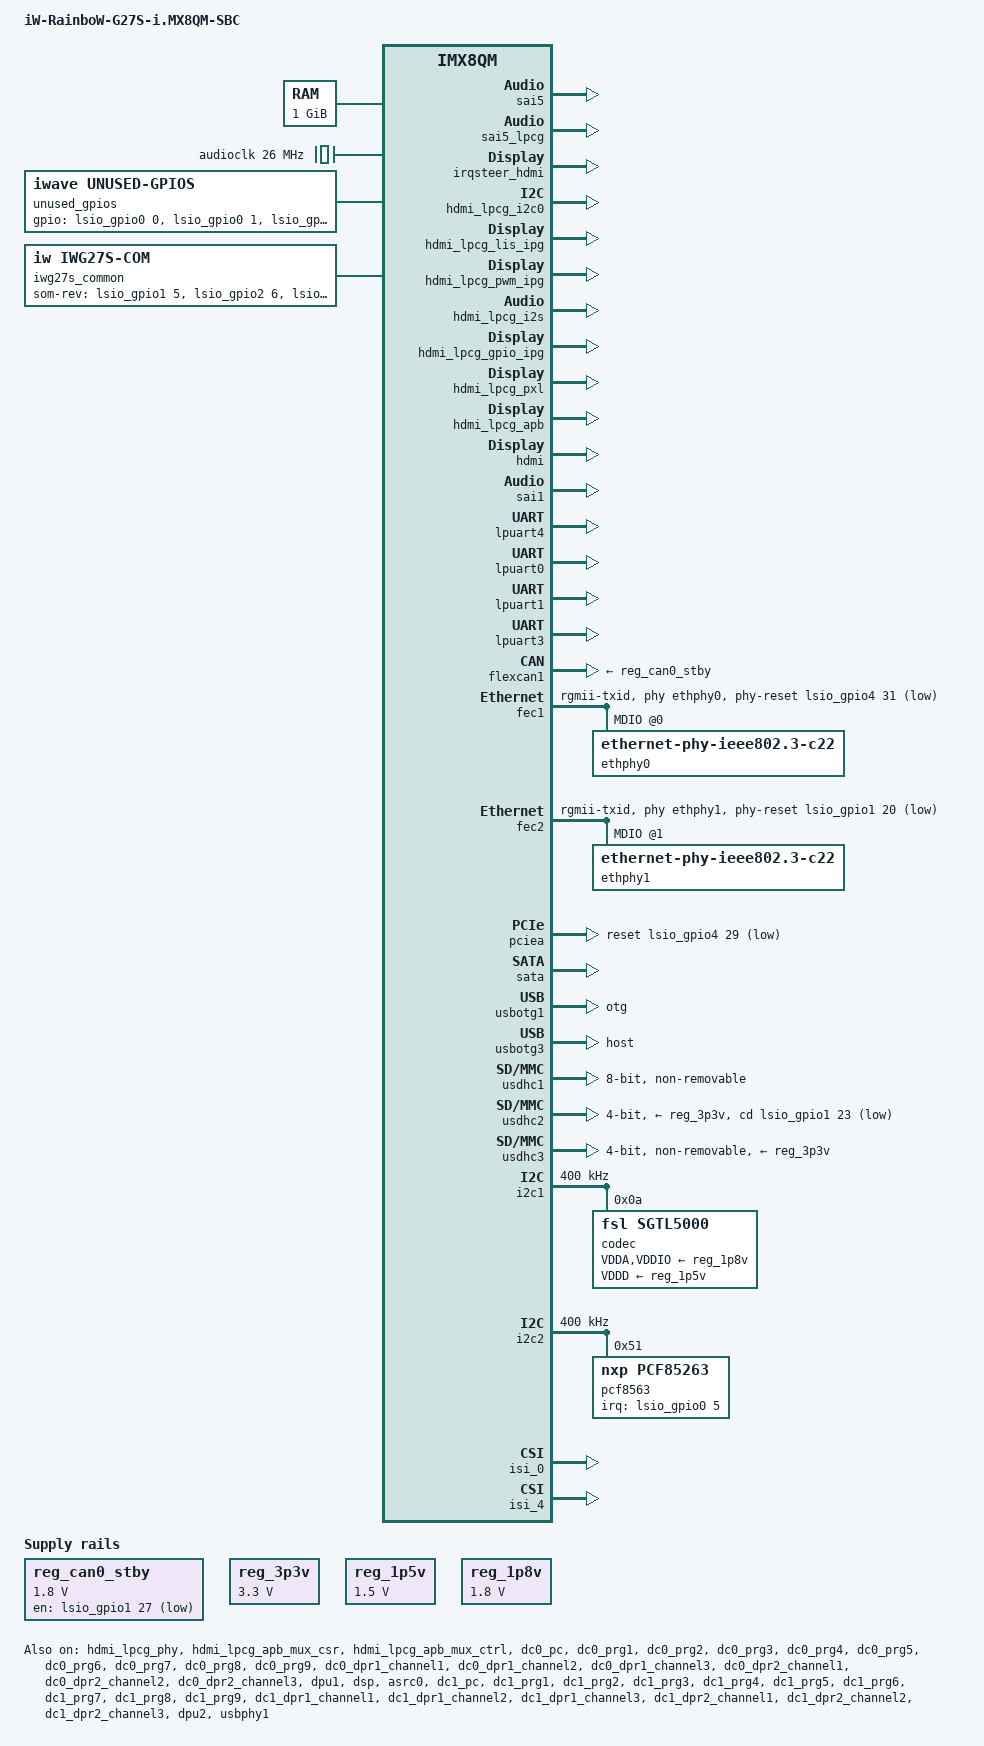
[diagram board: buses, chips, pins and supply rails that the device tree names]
// SPDX-License-Identifier: GPL-2.0+
/*
 * Copyright (c) 2020 iWave Systems Technologies Pvt. Ltd.
 *
 * This program is free software; you can redistribute it and/or
 * modify it under the terms of the GNU General Public License
 * as published by the Free Software Foundation; either version 2
 * of the License, or (at your option) any later version.
 *
 * This program is distributed in the hope that it will be useful,
 * but WITHOUT ANY WARRANTY; without even the implied warranty of
 * MERCHANTABILITY or FITNESS FOR A PARTICULAR PURPOSE.  See the
 * GNU General Public License for more details.
 */

#include <dt-bindings/usb/pd.h>
#include "imx8qm.dtsi"

/ {
	model = "iW-RainboW-G27S-i.MX8QM-SBC";
	compatible = "fsl,imx8qm-iwg27s", "fsl,imx8qm";

	chosen {
                stdout-path = &lpuart4;
	};

	aliases {
		serial4 = &lpuart4;
	};

	memory@80000000 {
		device_type = "memory";
		reg = <0x00000000 0x80000000 0 0x40000000>;
	};

	clocks {
		#address-cells = <1>;
		#size-cells = <0>;

		audioclk: ext26Mz { /* SGTL5000: External Audio Clock */
			compatible = "fixed-clock";
			clock-frequency = <26000000>;
			reg=<0>;
			#clock-cells = <0>;
		};
	};

	reserved-memory {
		#address-cells = <2>;
		#size-cells = <2>;
		ranges;

		decoder_boot: decoder_boot@0x84000000 {
			no-map;
			reg = <0 0x84000000 0 0x2000000>;
		};
		encoder_boot: encoder_boot@0x86000000 {
			no-map;
			reg = <0 0x86000000 0 0x400000>;
		};
		/*
		 * reserved-memory layout
		 * 0x8800_0000 ~ 0x8FFF_FFFF is reserved for M4
		 * Shouldn't be used at A core and Linux side.
		 *
		 */
		m4_reserved: m4@0x88000000 {
			no-map;
			reg = <0 0x88000000 0 0x8000000>;
		};
		rpmsg_reserved: rpmsg@0x90000000 {
			no-map;
			reg = <0 0x90200000 0 0x200000>;
		};
		decoder_rpc: decoder_rpc@0x92000000 {
			no-map;
			reg = <0 0x92000000 0 0x200000>;
		};
		encoder_rpc: encoder_rpc@0x92200000 {
			no-map;
			reg = <0 0x92200000 0 0x200000>;
		};
		dsp_reserved: dsp@0x92400000 {
			no-map;
			reg = <0 0x92400000 0 0x2000000>;
		};
		encoder_reserved: encoder_reserved@0x94400000 {
			no-map;
			reg = <0 0x94400000 0 0x800000>;
		};
		ts_boot: ts_boot@0x95000000 {
			no-map;
			reg = <0 0x95000000 0 0x400000>;
		};

		/* global autoconfigured region for contiguous allocations */
		linux,cma {
			compatible = "shared-dma-pool";
			reusable;
			size = <0 0x3c000000>;
			alloc-ranges = <0 0x96000000 0 0x3c000000>;
			linux,cma-default;
		};

	};

	unused_gpios: unused_gpios { /* GPIO: Setting Unused GPIOs as input pins */
		compatible = "iwave,unused-gpios";
		pinctrl-names = "default";
		pinctrl-0 = <&pinctrl_unused_gpio>;
		status = "okay";  
	};

	reg_can0_stby: regulator-can-stby0 { /* CAN: CAN0 Standby Regulator */
		compatible = "regulator-fixed";
		regulator-name = "CAN0_STBY_1P8V";
		regulator-min-microvolt = <1800000>;
		regulator-max-microvolt = <1800000>;
		gpio = <&lsio_gpio1 27 GPIO_ACTIVE_HIGH>;
		regulator-always-on;
	};

	reg_3p3v: 3p3v { /* Regulator: Fixed 3.3V Regulator */
		compatible = "regulator-fixed";
		regulator-name = "3P3V";
		regulator-min-microvolt = <3300000>;
		regulator-max-microvolt = <3300000>;
		regulator-always-on;
		regulator-boot-on;
	};

	reg_1p5v: 1p5v { /* Regulator: Fixed 1.5V Regulator */
		compatible = "regulator-fixed";
		regulator-name = "1P5V";
		regulator-min-microvolt = <1500000>;
		regulator-max-microvolt = <1500000>;
		regulator-always-on;
	};

	reg_1p8v: 1p8v { /* Regulator: Fixed 1.8V Regulator */
		compatible = "regulator-fixed";
		regulator-name = "1P8V";
		regulator-min-microvolt = <1800000>;
		regulator-max-microvolt = <1800000>;
		regulator-always-on;
	};

	sound { /* SGTL5000: Audio Codec */
		compatible = "fsl,imx-audio-sgtl5000";
		model = "sgtl5000-audio";
		ssi-controller = <&sai1>;
		audio-codec = <&codec>;
		audio-routing = "MIC_IN", "Mic Jack",
				"Mic Jack", "Mic Bias",
				"Headphone Jack", "HP_OUT",
				"LINE_IN", "Line In Jack";
	};

	sound-hdmi-tx { /* HDMI: HDMI TX Audio */
		compatible = "fsl,imx-audio-cdnhdmi";
		model = "imx-audio-hdmi-tx";
		audio-cpu = <&sai5>;
		protocol = <1>;
		hdmi-out;
		status = "okay";
	};

	/* SoC Board Setttings : Setting Board Configuration GPIOs */
	iwg27s_common {
		compatible = "iw,iwg27s-com";
		pinctrl-names = "default";
		pinctrl-0 = <&pinctrl_board_cfg>;
		som-rev-gpios = <&lsio_gpio1 5 0  &lsio_gpio2 6 0  &lsio_gpio2 10 0  &lsio_gpio1 11 0
			&lsio_gpio2 11 0 &lsio_gpio2 12 0 &lsio_gpio2 13 0>;
		status = "okay";
	};

	reserved-memory {
		#address-cells = <2>;
		#size-cells = <2>;
		ranges;

		vdev0vring0: vdev0vring0@90000000 {
                        compatible = "shared-dma-pool";
			reg = <0 0x90000000 0 0x8000>;
			no-map;
		};

		vdev0vring1: vdev0vring1@90008000 {
                        compatible = "shared-dma-pool";
			reg = <0 0x90008000 0 0x8000>;
			no-map;
		};

		vdev1vring0: vdev1vring0@90010000 {
                        compatible = "shared-dma-pool";
			reg = <0 0x90010000 0 0x8000>;
			no-map;
		};

		vdev1vring1: vdev1vring1@90018000 {
                        compatible = "shared-dma-pool";
			reg = <0 0x90018000 0 0x8000>;
			no-map;
		};

		vdevbuffer: vdevbuffer {
                        compatible = "shared-dma-pool";
			reg = <0 0x90400000 0 0x100000>;
			no-map;
		};

		vdev2vring0: vdev0vring0@90100000 {
                        compatible = "shared-dma-pool";
			reg = <0 0x90100000 0 0x8000>;
			no-map;
		};

		vdev2vring1: vdev0vring1@90108000 {
                        compatible = "shared-dma-pool";
			reg = <0 0x90108000 0 0x8000>;
			no-map;
		};

		vdev3vring0: vdev1vring0@90110000 {
                        compatible = "shared-dma-pool";
			reg = <0 0x90110000 0 0x8000>;
			no-map;
		};

		vdev3vring1: vdev1vring1@90118000 {
                        compatible = "shared-dma-pool";
			reg = <0 0x90118000 0 0x8000>;
			no-map;
		};
	};
};

&lsio_gpio0 {
	status = "okay";
};

&lsio_gpio1 {
	status = "okay";
};

&lsio_gpio2 {
	status = "okay";
};

&lsio_gpio3 {
	status = "okay";
};

&lsio_gpio4 {
	status = "okay";
};

&lsio_gpio5 {
	status = "okay";
};

&hsio_refb_clk {
	status = "disabled";
};

&sai5 {
	status = "okay";
};

&sai5_lpcg {
        status = "okay";
};

&irqsteer_hdmi {
	status = "okay";
};

&hdmi_lpcg_i2c0 {
	status = "okay";
};

&hdmi_lpcg_lis_ipg {
	status = "okay";
};

&hdmi_lpcg_pwm_ipg {
	status = "okay";
};

&hdmi_lpcg_i2s {
	status = "okay";
};

&hdmi_lpcg_gpio_ipg {
	status = "okay";
};

&hdmi_lpcg_msi_hclk {
	status = "okay";
};

&hdmi_lpcg_pxl {
	status = "okay";
};

&hdmi_lpcg_phy {
	status = "okay";
};

&hdmi_lpcg_apb_mux_csr {
	status = "okay";
};

&hdmi_lpcg_apb_mux_ctrl {
	status = "okay";
};

&hdmi_lpcg_apb {
	status = "okay";
};

&hdmi {
        compatible = "cdn,imx8qm-hdmi";
        lane-mapping = <0x93>;
	status = "okay";
};

&dc0_pc {
	status = "okay";
};

&dc0_prg1 {
	status = "okay";
};

&dc0_prg2 {
	status = "okay";
};

&dc0_prg3 {
	status = "okay";
};

&dc0_prg4 {
	status = "okay";
};

&dc0_prg5 {
	status = "okay";
};

&dc0_prg6 {
	status = "okay";
};

&dc0_prg7 {
	status = "okay";
};

&dc0_prg8 {
	status = "okay";
};

&dc0_prg9 {
	status = "okay";
};

&dc0_dpr1_channel1 {
	status = "okay";
};

&dc0_dpr1_channel2 {
	status = "okay";
};

&dc0_dpr1_channel3 {
	status = "okay";
};

&dc0_dpr2_channel1 {
	status = "okay";
};

&dc0_dpr2_channel2 {
	status = "okay";
};

&dc0_dpr2_channel3 {
	status = "okay";
};

&dpu1 {
	status = "okay";
};

&dsp {
	compatible = "fsl,imx8qm-dsp-v1";
	status = "okay";
};

&asrc0 {
	fsl,asrc-rate  = <48000>;
	status = "okay";
};

&sai1 { /* SGTL5000: Serial Audio Interface for SGTL5000 Audio Codec */
	assigned-clocks = <&clk IMX_SC_R_AUDIO_PLL_0 IMX_SC_PM_CLK_PLL>,
		<&clk IMX_SC_R_AUDIO_PLL_0 IMX_SC_PM_CLK_SLV_BUS>,
		<&clk IMX_SC_R_AUDIO_PLL_0 IMX_SC_PM_CLK_MST_BUS>,
		<&sai1_lpcg 0>; /* FIXME: should be sai1, original code is 0 */
	assigned-clock-rates = <786432000>, <49152000>, <12288000>, <49152000>;
	pinctrl-names = "default";
	pinctrl-0 = <&pinctrl_sai1>;
	status = "okay";
};

&dc1_pc {
	status = "okay";
};

&dc1_prg1 {
	status = "okay";
};

&dc1_prg2 {
	status = "okay";
};

&dc1_prg3 {
	status = "okay";
};

&dc1_prg4 {
	status = "okay";
};

&dc1_prg5 {
	status = "okay";
};

&dc1_prg6 {
	status = "okay";
};

&dc1_prg7 {
	status = "okay";
};

&dc1_prg8 {
	status = "okay";
};

&dc1_prg9 {
	status = "okay";
};

&dc1_dpr1_channel1 {
	status = "okay";
};

&dc1_dpr1_channel2 {
	status = "okay";
};

&dc1_dpr1_channel3 {
	status = "okay";
};

&dc1_dpr2_channel1 {
	status = "okay";
};

&dc1_dpr2_channel2 {
	status = "okay";
};

&dc1_dpr2_channel3 {
	status = "okay";
};

&dpu2 {
	status = "okay";
};

&dma_subsys {
	lpuart4: serial@5a0a0000 {
		compatible = "fsl,imx8qm-lpuart", "fsl,imx8qxp-lpuart";
		reg = <0x5a0a0000 0x1000>;
		interrupts = <GIC_SPI 349 IRQ_TYPE_LEVEL_HIGH>;
		interrupt-parent = <&gic>;
		clocks = <&uart4_lpcg 1>, <&uart4_lpcg 0>;
		clock-names = "ipg", "baud";
		assigned-clocks = <&clk IMX_SC_R_UART_4 IMX_SC_PM_CLK_PER>;
		assigned-clock-rates = <80000000>;
		power-domains = <&pd IMX_SC_R_UART_4>;
		power-domain-names = "uart";
		dma-names = "tx","rx";
		dmas = <&edma2 21 0 0>,
			<&edma2 20 0 1>;
	};
};

&lpuart0 { /* LPUART0: DATA UART */
	pinctrl-names = "default";
	pinctrl-0 = <&pinctrl_lpuart0>;
	dma-names = "tx","rx";
	power-domains = <&pd IMX_SC_R_UART_0>;
	dmas = <&edma2 13 0 0>,
	       <&edma2 12 0 1>;
	status = "okay";
};

&lpuart1 { /* LPUART1: Bluetooth */
	pinctrl-names = "default";
	pinctrl-0 = <&pinctrl_lpuart1>;
	port-number = <1>;
	status = "okay";
};

&lpuart3 { /* LPUART3: DATA UART */
        pinctrl-names = "default";
        pinctrl-0 = <&pinctrl_lpuart3>;
	power-domains = <&pd IMX_SC_R_UART_3>;
	dmas = <&edma2 19 0 0>,
	       <&edma2 18 0 1>;
        status = "okay";
};

&lpuart4 { /* LPUART4: Debug UART */
        pinctrl-names = "default";
        pinctrl-0 = <&pinctrl_lpuart4>;
	status = "okay";
};

&flexcan1 { /* CAN: FLEXCAN1 */
	pinctrl-names = "default";
	compatible = "fsl,imx8qm-flexcan"; 
	pinctrl-0 = <&pinctrl_flexcan1>;
	xceiver-supply = <&reg_can0_stby>;
	status = "okay";
};

&fec1 { /* FEC1: AR8031 PHY ENET 0 */
	pinctrl-names = "default";
	pinctrl-0 = <&pinctrl_fec1>;
	phy-mode = "rgmii-txid";
	phy-handle = <&ethphy0>;
	phy-reset-gpios = <&lsio_gpio4 31 GPIO_ACTIVE_LOW>;
	fsl,magic-packet;
	fsl,mii-exclusive;
	nvmem-cells = <&fec_mac0>;
	nvmem-cell-names = "mac-address";
	fsl,rgmii_rxc_dly;
	status = "okay";

	mdio {
		#address-cells = <1>;
		#size-cells = <0>;

		ethphy0: ethernet-phy@0 {
			compatible = "ethernet-phy-ieee802.3-c22";
			at803x,eee-disabled;
			at803x,vddio-1p8v;
		};
	};
};

&fec2 { /* FEC2: AR8031 PHY ENET 1 */
	pinctrl-names = "default";
	pinctrl-0 = <&pinctrl_fec2>;
	phy-mode = "rgmii-txid";
	phy-handle = <&ethphy1>;
	phy-reset-gpios = <&lsio_gpio1 20 GPIO_ACTIVE_LOW>;
	fsl,magic-packet;
	fsl,mii-exclusive;
	nvmem-cells = <&fec_mac1>;
	nvmem-cell-names = "mac-address";
	fsl,rgmii_rxc_dly;
	status = "okay";

	mdio {
		#address-cells = <1>;
		#size-cells = <0>;

		ethphy1: ethernet-phy@1 {
			compatible = "ethernet-phy-ieee802.3-c22";
			at803x,eee-disabled;
			at803x,vddio-1p8v;
		};
	};
};

&pciea{ /* PCIE: PCIEA SATA */
	pinctrl-names = "default";
	pinctrl-0 = <&pinctrl_pciea>;
	reset-gpio = <&lsio_gpio4 29 GPIO_ACTIVE_LOW>;
	ext_osc = <1>;
	epdev_on-supply = <&reg_3p3v>;
	reserved-region = <&rpmsg_reserved>;
	status = "okay";
};

&pcieb{ /* PCIE:  PCIEB SATA */
	ext_osc = <1>;
	epdev_on-supply = <&reg_3p3v>;
	status = "diabled";
};

&rpmsg0{
	/*
	 * 64K for one rpmsg instance:
	 */
	vdev-nums = <2>;
	reg = <0x0 0x90000000 0x0 0x20000>;
	memory-region = <&vdevbuffer>;
	status = "disabled";
};

&rpmsg1{
	/*
	 * 64K for one rpmsg instance:
	 */
	vdev-nums = <2>;
	reg = <0x0 0x90100000 0x0 0x20000>;
	memory-region = <&vdevbuffer>;
	status = "disabled";
};

&sata { /* SATA */
	pinctrl-names = "default";
	clock-names = "sata", "sata_ref", "epcs_tx", "epcs_rx",
		"per_clk0", "per_clk1", "per_clk2",
		"per_clk3", "per_clk4", "per_clk5",
		"phy_pclk0", "phy_pclk1", "phy_apbclk", "ahb";
	power-domains = <&pd IMX_SC_R_SATA_0>,
		<&pd IMX_SC_R_PCIE_A>,
		<&pd IMX_SC_R_PCIE_B>,
		<&pd IMX_SC_R_SERDES_0>,
		<&pd IMX_SC_R_SERDES_1>,
		<&pd IMX_SC_R_HSIO_GPIO>,
		<&pd IMX_SC_R_SATA_0>;
	pinctrl-0 = <&pinctrl_sata>;
	sata-act-gpios = <&lsio_gpio1 18 GPIO_ACTIVE_LOW>;
	fsl,phy-imp = <0x6c>;
	ext_osc = <1>;
	status = "okay";
};

&usbphy1 {
	status = "okay";
};

&usbotg1 { /* USBOTG1: USB 2.0 OTG Device */
	pinctrl-names = "default";
	pinctrl-0 = <&pinctrl_usbotg1>;
	srp-disable;
	hnp-disable;
	adp-disable;
	otg-pwr-gpio = <&lsio_gpio4 3 GPIO_ACTIVE_LOW>;
	dr_mode = "otg";
	power-active-high;
	disable-over-current;
	status = "okay";
};

&usb3phynop1 {
	status = "okay";
};

&usbotg3 { /* USBOTG3: USB Host */
	pinctrl-names = "default";
	pinctrl-0 = <&pinctrl_usbotg3>;
	hub-reset-gpio = <&lsio_gpio1 21 GPIO_ACTIVE_HIGH>;
	dr_mode = "host";
	status = "okay";
};

&usdhc1 { /* USDHC1: EMMC */
	pinctrl-names = "default", "state_100mhz", "state_200mhz";
	pinctrl-0 = <&pinctrl_usdhc1>;
	pinctrl-1 = <&pinctrl_usdhc1>;
	pinctrl-2 = <&pinctrl_usdhc1>;
	bus-width = <8>;
	no-sd;
	no-sdio;
	non-removable;
	status = "okay";
};

&usdhc2 { /* USDHC2: Micro SD */
	pinctrl-names = "default", "state_100mhz", "state_200mhz";
	pinctrl-0 = <&pinctrl_usdhc2>, <&pinctrl_usdhc2_gpio>;
	pinctrl-1 = <&pinctrl_usdhc2>, <&pinctrl_usdhc2_gpio>;
	pinctrl-2 = <&pinctrl_usdhc2>, <&pinctrl_usdhc2_gpio>;
	bus-width = <4>;
	no-1-8-v;
	cd-gpios = <&lsio_gpio1 23 GPIO_ACTIVE_LOW>;
	vmmc-supply = <&reg_3p3v>;
	status = "okay";
};

&usdhc3 { /* USDHC3: SDIO JODY-W2 WIFI */
	pinctrl-names = "default","state_100mhz", "state_200mhz";
	pinctrl-0 = <&pinctrl_usdhc3>, <&pinctrl_usdhc3_gpio>;
	pinctrl-1 = <&pinctrl_usdhc3>, <&pinctrl_usdhc3_gpio>;
	pinctrl-2 = <&pinctrl_usdhc3>, <&pinctrl_usdhc3_gpio>;
	wifi-host-gpio = <&lsio_gpio3 12 GPIO_ACTIVE_HIGH>;
	wifi-dev-gpio = <&lsio_gpio3 5 GPIO_ACTIVE_HIGH>;
	bt-host-gpio = <&lsio_gpio3 0 GPIO_ACTIVE_HIGH>;
	bt-dev-gpio = <&lsio_gpio2 27 GPIO_ACTIVE_HIGH>;
	wl-en-gpio = <&lsio_gpio4 7 GPIO_ACTIVE_HIGH>;
	bt-en-gpio = <&lsio_gpio2 30 GPIO_ACTIVE_HIGH>;
	bus-width = <4>;
	vmmc-supply = <&reg_3p3v>;
	non-removable;
	fsl,tuning-start-tap = <40>;
        fsl,tuning-step= <2>;
	wifi-host;
	status = "okay";
};

&i2c1 { /* I2C: LPI2C1 */
	#address-cells = <1>;
	#size-cells = <0>;
	pinctrl-names = "default";
	pinctrl-0 = <&pinctrl_lpi2c1>;
	clock-frequency = <400000>;
	status = "okay";

	codec: sgtl5000@a { /* SGTL5000: Audio Codec */
		compatible = "fsl,sgtl5000";
		reg = <0x0a>;
		pinctrl-names = "default";
		pinctrl-0 = <&pinctrl_hp_mic_detect>;
		clocks = <&audioclk 0>;
		VDDA-supply = <&reg_1p8v>;
		VDDIO-supply = <&reg_1p8v>;
		VDDD-supply = <&reg_1p5v>;
		power-domains = <&pd IMX_SC_R_MCLK_OUT_0>;
		status = "okay";
	};
};

&i2c2 { /* I2C: LPI2C2 */
	#address-cells = <1>;
	#size-cells = <0>;
	pinctrl-names = "default";
	pinctrl-0 = <&pinctrl_lpi2c2>;
	clock-frequency = <400000>;
	status = "okay";

	pcf8563: rtc@51 { /* RTC: PCF85263 RTC */
		compatible = "nxp,pcf85263";
		pinctrl-names = "default";
		pinctrl-0 = <&pinctrl_rtc>;
		reg = <0x51>;
		interrupt-parent = <&lsio_gpio0>;
		interrupts = <5 IRQ_TYPE_LEVEL_LOW>;
		interrupt-names = "INTA";
		status = "okay";
	};
};

/* Multimedia: Image Sensing Interface */
&isi_0 {
	status = "okay";

	cap_device {
		status = "okay";
	};

	m2m_device {
		status = "okay";
	};
};

&isi_1 {
	status = "disabled";

	cap_device {
		status = "disabled";
	};
};

/* HDMI: HDMI-RX */
&isi_2 {
	interface = <4 0 2>;  /* <Input MIPI_VCx Output>
				Input:  0-DC0, 1-DC1, 2-MIPI CSI0, 3-MIPI CSI1, 4-HDMI, 5-MEM
				VCx:    0-VC0, 1-VC1, 2-VC2, 3-VC3, MIPI CSI only
				Output: 0-DC0, 1-DC1, 2-MEM */
	 status = "disabled";

	cap_device {
		status = "disabled";
	};
};

&isi_3 {
	/* For HDMI RX 4K chain buf */
	interface = <4 0 2>;
	status = "disabled";

	cap_device {
		status = "disabled";
	};
};

&isi_4 {
	status = "okay";

	cap_device {
		status = "okay";
	};
};

&isi_5 {
	status = "disabled";

	cap_device {
		status = "disabled";
	};
};

&isi_6 {
	status = "disabled";

	cap_device {
		status = "disabled";
	};
};

&isi_7 {
	status = "disabled";

	cap_device {
		status = "disabled";
	};
};

&jpegdec {
       status = "okay";
};

&jpegenc {
       status = "okay";
};

&iomuxc {
	pinctrl-names = "default";
	pinctrl-0 = <&pinctrl_hog>;

	imx8qm-iwg27s {
		pinctrl_hog: hoggrp {
			fsl,pins = <
				/*M.2 Configuration GPIOS */
				IMX8QM_GPT1_COMPARE_LSIO_GPIO0_IO19			0x00000021
				IMX8QM_ADC_IN6_LSIO_GPIO3_IO24				0x00000021
				IMX8QM_MIPI_CSI1_GPIO0_01_LSIO_GPIO1_IO31		0x00000021
				IMX8QM_SIM0_PD_LSIO_GPIO0_IO03				0x00000021
				/*Control signal GPIOS */
				IMX8QM_ADC_IN5_LSIO_GPIO3_IO23				0x00000021
				IMX8QM_MLB_CLK_LSIO_GPIO3_IO27				0x00000021
				IMX8QM_ESAI1_FSR_LSIO_GPIO2_IO04			0x00000021
				IMX8QM_USDHC1_STROBE_LSIO_GPIO5_IO23			0x00000021
				IMX8QM_MLB_SIG_LSIO_GPIO3_IO26				0x00000021
				IMX8QM_MLB_DATA_LSIO_GPIO3_IO28				0x00000021
				IMX8QM_ESAI1_FST_LSIO_GPIO2_IO05			0x00000021
				/*M.2 GPIOS*/
				IMX8QM_SPI0_SCK_LSIO_GPIO3_IO02				0x00000021
				IMX8QM_SAI1_RXFS_LSIO_GPIO3_IO14			0x00000021
				IMX8QM_ADC_IN4_LSIO_GPIO3_IO22				0x00000021
				IMX8QM_ESAI0_FSR_LSIO_GPIO2_IO22			0x00000021
				/*M.2 USBSS_SEL GPIO */
				IMX8QM_ESAI0_SCKR_LSIO_GPIO2_IO24			0x00000021
				/*M.2 MFG */
				IMX8QM_HDMI_TX0_TS_SDA_HDMI_TX0_I2C0_SDA		0x00000021
				IMX8QM_HDMI_TX0_TS_SCL_HDMI_TX0_I2C0_SCL		0x00000021
				/*LVDS0 I2C */
				IMX8QM_LVDS0_I2C0_SCL_LVDS0_I2C0_SCL			0x00000021
				IMX8QM_LVDS0_I2C0_SDA_LVDS0_I2C0_SDA			0x00000021
			>;
		};

		pinctrl_fec1: fec1grp { /* Ethernet0: IOMUX Pin Configuration */
			fsl,pins = <
				IMX8QM_COMP_CTL_GPIO_1V8_3V3_ENET_ENETB_PAD		0x000014a0
				IMX8QM_ENET0_MDC_CONN_ENET0_MDC				0x06000020
				IMX8QM_ENET0_MDIO_CONN_ENET0_MDIO			0x06000020
				IMX8QM_ENET0_RGMII_TX_CTL_CONN_ENET0_RGMII_TX_CTL	0x06000020
				IMX8QM_ENET0_RGMII_TXC_CONN_ENET0_RGMII_TXC		0x06000020
				IMX8QM_ENET0_RGMII_TXD0_CONN_ENET0_RGMII_TXD0		0x06000020
				IMX8QM_ENET0_RGMII_TXD1_CONN_ENET0_RGMII_TXD1		0x06000020
				IMX8QM_ENET0_RGMII_TXD2_CONN_ENET0_RGMII_TXD2		0x06000020
				IMX8QM_ENET0_RGMII_TXD3_CONN_ENET0_RGMII_TXD3		0x06000020
				IMX8QM_ENET0_RGMII_RXC_CONN_ENET0_RGMII_RXC		0x06000020
				IMX8QM_ENET0_RGMII_RX_CTL_CONN_ENET0_RGMII_RX_CTL	0x06000020
				IMX8QM_ENET0_RGMII_RXD0_CONN_ENET0_RGMII_RXD0		0x06000020
				IMX8QM_ENET0_RGMII_RXD1_CONN_ENET0_RGMII_RXD1		0x06000020
				IMX8QM_ENET0_RGMII_RXD2_CONN_ENET0_RGMII_RXD2		0x06000020
				IMX8QM_ENET0_RGMII_RXD3_CONN_ENET0_RGMII_RXD3		0x06000020
				IMX8QM_ENET0_REFCLK_125M_25M_CONN_ENET0_REFCLK_125M_25M	0x06000020
				IMX8QM_PCIE_CTRL0_CLKREQ_B_LSIO_GPIO4_IO27		0x06000021 /* Ethernet0 Interrupt */
				IMX8QM_PCIE_CTRL1_CLKREQ_B_LSIO_GPIO4_IO30		0x06000021 /* Ethernet0 Wake on LAN */
				IMX8QM_PCIE_CTRL1_WAKE_B_LSIO_GPIO4_IO31		0x06000021 /* Ethernet0 Reset */
			>;
		};

		pinctrl_fec2: fec2grp { /* Ethernet1: IOMUX Pin Configuration */
			fsl,pins = <
				IMX8QM_COMP_CTL_GPIO_1V8_3V3_ENET_ENETA_PAD		0x000014a0
				IMX8QM_ENET1_MDC_CONN_ENET1_MDC				0x06000020
				IMX8QM_ENET1_MDIO_CONN_ENET1_MDIO			0x06000020
				IMX8QM_ENET1_RGMII_TX_CTL_CONN_ENET1_RGMII_TX_CTL	0x00000060
				IMX8QM_ENET1_RGMII_TXC_CONN_ENET1_RGMII_TXC		0x00000060
				IMX8QM_ENET1_RGMII_TXD0_CONN_ENET1_RGMII_TXD0		0x00000060
				IMX8QM_ENET1_RGMII_TXD1_CONN_ENET1_RGMII_TXD1		0x00000060
				IMX8QM_ENET1_RGMII_TXD2_CONN_ENET1_RGMII_TXD2		0x00000060
				IMX8QM_ENET1_RGMII_TXD3_CONN_ENET1_RGMII_TXD3		0x00000060
				IMX8QM_ENET1_RGMII_RXC_CONN_ENET1_RGMII_RXC		0x00000060
				IMX8QM_ENET1_RGMII_RX_CTL_CONN_ENET1_RGMII_RX_CTL	0x00000060
				IMX8QM_ENET1_RGMII_RXD0_CONN_ENET1_RGMII_RXD0		0x00000060
				IMX8QM_ENET1_RGMII_RXD1_CONN_ENET1_RGMII_RXD1		0x00000060
				IMX8QM_ENET1_RGMII_RXD2_CONN_ENET1_RGMII_RXD2		0x00000060
				IMX8QM_ENET1_RGMII_RXD3_CONN_ENET1_RGMII_RXD3		0x00000060
				IMX8QM_ENET1_REFCLK_125M_25M_CONN_ENET1_REFCLK_125M_25M	0x00000060
				IMX8QM_MIPI_DSI1_I2C0_SCL_LSIO_GPIO1_IO20		0x06000021 /* Ethernet1 Reset */
				IMX8QM_MIPI_DSI0_I2C0_SCL_LSIO_GPIO1_IO16		0x06000021 /* Ethernet1 Wake on LAN */
				IMX8QM_MIPI_DSI0_I2C0_SDA_LSIO_GPIO1_IO17		0x06000021 /* Ethernet1 Interrupt */
			>;
		};


		pinctrl_flexcan1: flexcan0grp { /* CAN: FLEXCAN0 IOMUX Pin Configuration */
			fsl,pins = <
				IMX8QM_FLEXCAN0_TX_DMA_FLEXCAN0_TX			0x00000021
				IMX8QM_FLEXCAN0_RX_DMA_FLEXCAN0_RX			0x00000021
				IMX8QM_MIPI_CSI0_GPIO0_00_LSIO_GPIO1_IO27		0x00000021 /* FLEXCAN1 Power Down GPIO */
			>;
		};

		pinctrl_lpuart0: lpuart0grp { /* LPUART0: DATA UART IOMUX Pin Configuration */
			fsl,pins = <
				IMX8QM_UART0_RX_DMA_UART0_RX				0x06000020
				IMX8QM_UART0_TX_DMA_UART0_TX				0x06000020
				IMX8QM_UART0_RTS_B_DMA_UART0_RTS_B			0x06000020
				IMX8QM_UART0_CTS_B_DMA_UART0_CTS_B			0x06000020
			>;
		};

		pinctrl_lpuart1: lpuart1grp { /* LPUART1: Bluetooth IOMUX Pin Configuration */
			fsl,pins = <
				IMX8QM_UART1_RX_DMA_UART1_RX				0x06000020
				IMX8QM_UART1_TX_DMA_UART1_TX				0x06000020
				IMX8QM_UART1_CTS_B_DMA_UART1_CTS_B			0x06000020
				IMX8QM_UART1_RTS_B_DMA_UART1_RTS_B			0x06000020
			>;
		};

		pinctrl_lpuart3: lpuart3grp { /* LPUART3: Debug UART IOMUX Pin Configuration */
			fsl,pins = <
				IMX8QM_M41_GPIO0_00_DMA_UART3_RX			0x06000020
				IMX8QM_M41_GPIO0_01_DMA_UART3_TX			0x06000020
			>;
		};

		pinctrl_lpuart4: lpuart4ggrp { /* LPUART4: Debug UART IOMUX Pin Configuration */
			fsl,pins = <
				IMX8QM_M40_GPIO0_00_DMA_UART4_RX			0x06000020
				IMX8QM_M40_GPIO0_01_DMA_UART4_TX			0x06000020
			>;
		};

		pinctrl_sai1: sai1grp { /* SGTL5000: SAI Audio IOMUX Pin Configuration */
			fsl,pins = <
				IMX8QM_SAI1_RXD_AUD_SAI1_RXD				0xc600004c
				IMX8QM_SAI1_TXC_AUD_SAI1_TXC				0xc600004c
				IMX8QM_SAI1_TXD_AUD_SAI1_TXD				0xc600004c
				IMX8QM_SAI1_TXFS_AUD_SAI1_TXFS				0xc600004c
			>;
		};

		pinctrl_hp_mic_detect: hp_mic_detect { /* SGTL5000: IOMUX Pin Configuration */
			fsl,pins = <
				IMX8QM_MCLK_OUT0_AUD_ACM_MCLK_OUT0			0x0600004c
			>;
		};

		pinctrl_lpi2c1: lpi2c1grp { /* I2C1: IOMUX Pin Configuration */
			fsl,pins = <
				IMX8QM_GPT0_CLK_DMA_I2C1_SCL				0xc600004c
				IMX8QM_GPT0_CAPTURE_DMA_I2C1_SDA			0xc600004c
			>;
		};

		pinctrl_lpi2c2: lpi2c2grp { /* I2C2: IOMUX Pin Configuration for RTC */
			fsl,pins = <
				IMX8QM_GPT1_CLK_DMA_I2C2_SCL				0xc600004c
				IMX8QM_GPT1_CAPTURE_DMA_I2C2_SDA			0xc600004c
			>;
		};

		pinctrl_rtc: rtcirq { /* RTC: IOMUX Pin Configuration */
			fsl,pins = <
				IMX8QM_SIM0_GPIO0_00_LSIO_GPIO0_IO05			0x00000021 /* RTC Interrupt GPIO */
			>;
		};

		pinctrl_pciea: pcieagrp{ /* PCIE: IOMUX Pin Configuration */
			fsl,pins = <
				IMX8QM_PCIE_CTRL1_PERST_B_LSIO_GPIO5_IO00		0x00000021 /* M2 CLKREQ */
				IMX8QM_PCIE_CTRL0_WAKE_B_LSIO_GPIO4_IO28		0x00000021 /* PCIE Wake GPIO */
				IMX8QM_PCIE_CTRL0_PERST_B_LSIO_GPIO4_IO29		0x00000021 /* PCIE Reset GPIO */
			>;
		};

		pinctrl_usbotg1: usbotg1 { /* USBOTG1: USB OTG IOMUX Pin Configuration */
			fsl,pins = <
				IMX8QM_USB_SS3_TC0_LSIO_GPIO4_IO03			0x00000021 /* USB2.0 OTG Power GPIO */
			>;
		};

		pinctrl_usbotg3: usbotg3 { /* USBOTG3: USB Hub IOMUX Pin COnfiguration */
			fsl,pins = <
				IMX8QM_MIPI_DSI1_I2C0_SDA_LSIO_GPIO1_IO21		0x00000021 /* USB3.0 Hub Reset GPIO */
			>;
		};

		pinctrl_usdhc1: usdhc1grp { /* USDHC1: EMMC IOMUX Pin Configuration */
			fsl,pins = <
				IMX8QM_EMMC0_CLK_CONN_EMMC0_CLK				0x06000041
				IMX8QM_EMMC0_CMD_CONN_EMMC0_CMD				0x00000021
				IMX8QM_EMMC0_DATA0_CONN_EMMC0_DATA0			0x00000021
				IMX8QM_EMMC0_DATA1_CONN_EMMC0_DATA1			0x00000021
				IMX8QM_EMMC0_DATA2_CONN_EMMC0_DATA2			0x00000021
				IMX8QM_EMMC0_DATA3_CONN_EMMC0_DATA3			0x00000021
				IMX8QM_EMMC0_DATA4_CONN_EMMC0_DATA4			0x00000021
				IMX8QM_EMMC0_DATA5_CONN_EMMC0_DATA5			0x00000021
				IMX8QM_EMMC0_DATA6_CONN_EMMC0_DATA6			0x00000021
				IMX8QM_EMMC0_DATA7_CONN_EMMC0_DATA7			0x00000021
				IMX8QM_EMMC0_STROBE_CONN_EMMC0_STROBE			0x00000041
				IMX8QM_EMMC0_RESET_B_CONN_EMMC0_RESET_B			0x00000021
			>;
		};

		pinctrl_usdhc2_gpio: usdhc2grpgpio { /* USDHC2: Standard SD IOMUX Pin Configuration */
			fsl,pins = <
				IMX8QM_MIPI_DSI1_GPIO0_01_LSIO_GPIO1_IO23		0x00000021 /* Micro SD Card Detect */
				IMX8QM_USDHC1_VSELECT_CONN_USDHC1_VSELECT		0x00000021 /* Micro SD Vselect */
			>;
		};

		pinctrl_usdhc2: usdhc2grp {
			fsl,pins = <
				IMX8QM_USDHC1_CLK_CONN_USDHC1_CLK			0x06000040
				IMX8QM_USDHC1_CMD_CONN_USDHC1_CMD			0x00000021
				IMX8QM_USDHC1_DATA0_CONN_USDHC1_DATA0			0x00000021
				IMX8QM_USDHC1_DATA1_CONN_USDHC1_DATA1			0x00000021
				IMX8QM_USDHC1_DATA2_CONN_USDHC1_DATA2			0x00000021
				IMX8QM_USDHC1_DATA3_CONN_USDHC1_DATA3			0x00000021
			>;
		};

		pinctrl_usdhc3_gpio: usdhc3grpgpio { /* USDHC3: IOMUX Pin Configuration */
			fsl,pins = <
				IMX8QM_ESAI0_TX2_RX3_LSIO_GPIO2_IO28			0x00000021 /* WIFI IRQ */
				IMX8QM_ESAI0_TX3_RX2_LSIO_GPIO2_IO29			0x00000021 /* WIFI RST */
				IMX8QM_ESAI0_TX4_RX1_LSIO_GPIO2_IO30			0x00000021 /* WIFI CORE_PDn */
				IMX8QM_USDHC2_CD_B_LSIO_GPIO4_IO12			0x00000021 /* SD Card Detect GPIO */	
				IMX8QM_SPI0_CS0_LSIO_GPIO3_IO05				0x00000021 /* WIFI WL_DEV_WAKE */
                                IMX8QM_SAI1_RXC_LSIO_GPIO3_IO12				0x00000021 /* WIFI WL_HOST_WAKE */
				IMX8QM_USDHC1_RESET_B_LSIO_GPIO4_IO07			0x00000021 /* WIFI PDn */
				IMX8QM_ESAI0_TX1_LSIO_GPIO2_IO27			0x00000021 /* BT_DEV_WAKE */
				IMX8QM_MCLK_IN0_LSIO_GPIO3_IO00				0x00000021 /* BT_HOST_WAKE */
			>;
		};

		pinctrl_usdhc3: usdhc3grp {
			fsl,pins = <
				IMX8QM_USDHC2_CLK_CONN_USDHC2_CLK			0x06000041
				IMX8QM_USDHC2_CMD_CONN_USDHC2_CMD			0x00000021
				IMX8QM_USDHC2_DATA0_CONN_USDHC2_DATA0			0x00000021
				IMX8QM_USDHC2_DATA1_CONN_USDHC2_DATA1			0x00000021
				IMX8QM_USDHC2_DATA2_CONN_USDHC2_DATA2			0x00000021
				IMX8QM_USDHC2_DATA3_CONN_USDHC2_DATA3			0x00000021
				IMX8QM_USDHC2_VSELECT_CONN_USDHC2_VSELECT		0x00000020
			>;
		};

		pinctrl_sata: sata { /* SATA: IOMUX Pin Configuration */
			fsl,pins = <
				IMX8QM_SIM0_POWER_EN_LSIO_GPIO0_IO04			0x00000021 /* SATA SEL */
				IMX8QM_MIPI_DSI0_GPIO0_00_LSIO_GPIO1_IO18		0x00000021 /* SATA ACT LED GPIO */
			>;
		};

		pinctrl_board_cfg: brd_cfg { /* SoC Board Settings: IOMUX Pin Configuration */
			fsl,pins = <
				IMX8QM_LVDS0_GPIO01_LSIO_GPIO1_IO05			0x00000021
				IMX8QM_ESAI1_SCKR_LSIO_GPIO2_IO06			0x00000021
				IMX8QM_ESAI1_TX2_RX3_LSIO_GPIO2_IO10			0x00000021
				IMX8QM_LVDS1_GPIO01_LSIO_GPIO1_IO11			0x00000021
				IMX8QM_ESAI1_TX3_RX2_LSIO_GPIO2_IO11			0x00000021
				IMX8QM_ESAI1_TX4_RX1_LSIO_GPIO2_IO12			0x00000021
				IMX8QM_ESAI1_TX5_RX0_LSIO_GPIO2_IO13			0x00000021
			>;
		};

		pinctrl_unused_gpio: unused_gpiogrp{ /* GPIO: Unused GPIOs IOMUX Pin Configuration */
			fsl,pins = <
				IMX8QM_SIM0_CLK_LSIO_GPIO0_IO00				0x00000021
				IMX8QM_SIM0_RST_LSIO_GPIO0_IO01				0x00000021
				IMX8QM_SIM0_IO_LSIO_GPIO0_IO02				0x00000021
				IMX8QM_LVDS0_GPIO00_LSIO_GPIO1_IO04			0x00000021
				IMX8QM_LVDS0_I2C1_SCL_LSIO_GPIO1_IO08			0x00000021
				IMX8QM_LVDS0_I2C1_SDA_LSIO_GPIO1_IO09			0x00000021
				IMX8QM_LVDS1_GPIO00_LSIO_GPIO1_IO10			0x00000021
				IMX8QM_LVDS1_I2C0_SCL_LSIO_GPIO1_IO12			0x00000021
				IMX8QM_LVDS1_I2C0_SDA_LSIO_GPIO1_IO13			0x00000021
				IMX8QM_LVDS1_I2C1_SCL_LSIO_GPIO1_IO14			0x00000021
				IMX8QM_LVDS1_I2C1_SDA_LSIO_GPIO1_IO15			0x00000021
				IMX8QM_MIPI_DSI0_GPIO0_01_LSIO_GPIO1_IO19		0x00000021
				IMX8QM_MIPI_DSI1_GPIO0_00_LSIO_GPIO1_IO22		0x00000021
				IMX8QM_MIPI_CSI0_MCLK_OUT_LSIO_GPIO1_IO24		0x00000021
				IMX8QM_MIPI_CSI0_I2C0_SCL_LSIO_GPIO1_IO25 		0x00000021
				IMX8QM_MIPI_CSI0_I2C0_SDA_LSIO_GPIO1_IO26		0x00000021
				IMX8QM_MIPI_CSI0_GPIO0_01_LSIO_GPIO1_IO28		0x00000021
				IMX8QM_MIPI_CSI1_MCLK_OUT_LSIO_GPIO1_IO29		0x00000021	
				IMX8QM_MIPI_CSI1_I2C0_SCL_LSIO_GPIO2_IO00		0x00000021
				IMX8QM_MIPI_CSI1_I2C0_SDA_LSIO_GPIO2_IO01		0x00000021
				IMX8QM_ESAI1_SCKT_LSIO_GPIO2_IO07			0x00000021
				IMX8QM_ESAI1_TX0_LSIO_GPIO2_IO08			0x00000021
				IMX8QM_ESAI1_TX1_LSIO_GPIO2_IO09			0x00000021
				IMX8QM_SPDIF0_RX_LSIO_GPIO2_IO14			0x00000021
				IMX8QM_SPDIF0_TX_LSIO_GPIO2_IO15			0x00000021
				IMX8QM_SPDIF0_EXT_CLK_LSIO_GPIO2_IO16			0x00000021
				IMX8QM_SPI3_SCK_LSIO_GPIO2_IO17				0x00000021
				IMX8QM_SPI3_SDO_LSIO_GPIO2_IO18				0x00000021
				IMX8QM_SPI3_SDI_LSIO_GPIO2_IO19				0x00000021
				IMX8QM_SPI3_CS0_LSIO_GPIO2_IO20				0x00000021
				IMX8QM_SPI3_CS1_LSIO_GPIO2_IO21				0x00000021
				IMX8QM_SPI0_SDO_LSIO_GPIO3_IO03				0x00000021
				IMX8QM_SPI0_SDI_LSIO_GPIO3_IO04				0x00000021
				IMX8QM_SPI0_CS1_LSIO_GPIO3_IO06				0x00000021
				IMX8QM_SPI2_SCK_LSIO_GPIO3_IO07				0x00000021
				IMX8QM_SPI2_SDO_LSIO_GPIO3_IO08				0x00000021
				IMX8QM_SPI2_SDI_LSIO_GPIO3_IO09				0x00000021
				IMX8QM_SPI2_CS0_LSIO_GPIO3_IO10				0x00000021
				IMX8QM_SPI2_CS1_LSIO_GPIO3_IO11				0x00000021
				IMX8QM_ADC_IN7_LSIO_GPIO3_IO25				0x00000021
				IMX8QM_FLEXCAN1_RX_LSIO_GPIO3_IO31			0x00000021
				IMX8QM_FLEXCAN1_TX_LSIO_GPIO4_IO00			0x00000021	
				IMX8QM_QSPI1A_SS0_B_LSIO_GPIO4_IO19			0x00000021
				IMX8QM_QSPI1A_SS1_B_LSIO_GPIO4_IO20			0x00000021
				IMX8QM_QSPI1A_SCLK_LSIO_GPIO4_IO21			0x00000021
				IMX8QM_QSPI1A_DQS_LSIO_GPIO4_IO22			0x00000021
				IMX8QM_QSPI1A_DATA3_LSIO_GPIO4_IO23			0x00000021
				IMX8QM_QSPI1A_DATA2_LSIO_GPIO4_IO24			0x00000021
				IMX8QM_QSPI1A_DATA1_LSIO_GPIO4_IO25			0x00000021
				IMX8QM_QSPI1A_DATA0_LSIO_GPIO4_IO26			0x00000021
				IMX8QM_USB_HSIC0_DATA_LSIO_GPIO5_IO01			0x00000021
				IMX8QM_USB_HSIC0_STROBE_LSIO_GPIO5_IO02			0x00000021
			>;
		};
	};
};

&thermal_zones { /* Thermal Sensor Zone */
	pmic-thermal0 {
		polling-delay-passive = <250>;
		polling-delay = <2000>;
		thermal-sensors = <&tsens IMX_SC_R_PMIC_0>;
		trips {
			pmic_alert0: trip0 {
				temperature = <110000>;
				hysteresis = <2000>;
				type = "passive";
			};
			pmic_crit0: trip1 {
				temperature = <125000>;
				hysteresis = <2000>;
				type = "critical";
			};
		};
		cooling-maps {
			map0 {
				trip = <&pmic_alert0>;
				cooling-device =
				<&A53_0 THERMAL_NO_LIMIT THERMAL_NO_LIMIT>,
				<&A53_1 THERMAL_NO_LIMIT THERMAL_NO_LIMIT>,
				<&A53_2 THERMAL_NO_LIMIT THERMAL_NO_LIMIT>,
				<&A53_3 THERMAL_NO_LIMIT THERMAL_NO_LIMIT>,
				<&A72_0 THERMAL_NO_LIMIT THERMAL_NO_LIMIT>,
				<&A72_1 THERMAL_NO_LIMIT THERMAL_NO_LIMIT>;
			};
		};
	};
};

/* Graphics Processing Unit: GPU 3D,2D */
&gpu_3d0 {
	status = "okay";
};

&gpu_3d1 {
	status = "okay";
};

&imx8_gpu_ss {
	status = "okay";
};

&mu_m0{
	interrupts = <GIC_SPI 472 IRQ_TYPE_LEVEL_HIGH>;
};

&mu1_m0{
	interrupts = <GIC_SPI 473 IRQ_TYPE_LEVEL_HIGH>;
};

&mu2_m0{
	interrupts = <GIC_SPI 474 IRQ_TYPE_LEVEL_HIGH>;
	status = "okay";
};

&mu3_m0{
	interrupts = <GIC_SPI 475 IRQ_TYPE_LEVEL_HIGH>;
	status = "okay";
};

&vpu_decoder {
	compatible = "nxp,imx8qm-b0-vpudec";
	boot-region = <&decoder_boot>;
	rpc-region = <&decoder_rpc>;
	reg-csr = <0x2d080000>;
	core_type = <2>;
	status = "okay";
};

&vpu_ts {
	compatible = "nxp,imx8qm-b0-vpu-ts";
	boot-region = <&ts_boot>;
	reg-csr = <0x2d0b0000>;
	status = "okay";
};

&vpu_encoder {
	compatible = "nxp,imx8qm-b0-vpuenc";
	boot-region = <&encoder_boot>;
	rpc-region = <&encoder_rpc>;
	reserved-region = <&encoder_reserved>;
	reg-rpc-system = <0x40000000>;
	resolution-max = <1920 1920>;
	power-domains = <&pd IMX_SC_R_VPU_ENC_0>, <&pd IMX_SC_R_VPU_ENC_1>,
			<&pd IMX_SC_R_VPU>;
	power-domain-names = "vpuenc1", "vpuenc2", "vpu";
	mbox-names = "enc1_tx0", "enc1_tx1", "enc1_rx",
		     "enc2_tx0", "enc2_tx1", "enc2_rx";
	mboxes = <&mu1_m0 0 0
		  &mu1_m0 0 1
		  &mu1_m0 1 0
		  &mu2_m0 0 0
		  &mu2_m0 0 1
		  &mu2_m0 1 0>;
	status = "okay";

	vpu_enc_core0: core0@1020000 {
		compatible = "fsl,imx8-mu1-vpu-m0";
		reg = <0x1020000 0x20000>;
		reg-csr = <0x1090000 0x10000>;
		interrupts = <GIC_SPI 473 IRQ_TYPE_LEVEL_HIGH>;
		fsl,vpu_ap_mu_id = <17>;
		fw-buf-size = <0x200000>;
		rpc-buf-size = <0x80000>;
		print-buf-size = <0x80000>;
	};

	vpu_enc_core1: core1@1040000 {
		compatible = "fsl,imx8-mu2-vpu-m0";
		reg = <0x1040000 0x20000>;
		reg-csr = <0x10A0000 0x10000>;
		interrupts = <GIC_SPI 474 IRQ_TYPE_LEVEL_HIGH>;
		fsl,vpu_ap_mu_id = <18>;
		fw-buf-size = <0x200000>;
		rpc-buf-size = <0x80000>;
		print-buf-size = <0x80000>;
	};
};

&unused_gpios { /* GPIO: iWave Unused GPIO pins */
	gpios = <&lsio_gpio0 0 0>,
		<&lsio_gpio0 1 0>,
		<&lsio_gpio0 2 0>,
		<&lsio_gpio1 4 0>,
		<&lsio_gpio1 8 0>,
		<&lsio_gpio1 9 0>,
		<&lsio_gpio1 10 0>,
		<&lsio_gpio1 12 0>,
		<&lsio_gpio1 13 0>,
		<&lsio_gpio1 14 0>,
		<&lsio_gpio1 15 0>,
		<&lsio_gpio1 19 0>,
		<&lsio_gpio1 22 0>,
		<&lsio_gpio1 24 0>,
		<&lsio_gpio1 25 0>,
		<&lsio_gpio1 26 0>,
		<&lsio_gpio1 28 0>,
		<&lsio_gpio1 29 0>,
		<&lsio_gpio2 0 0>,
		<&lsio_gpio2 1 0>,
		<&lsio_gpio2 7 0>,
		<&lsio_gpio2 8 0>,
		<&lsio_gpio2 9 0>,
		<&lsio_gpio2 14 0>,
		<&lsio_gpio2 15 0>,
		<&lsio_gpio2 16 0>,
		<&lsio_gpio2 17 0>,
		<&lsio_gpio2 18 0>,
		<&lsio_gpio2 19 0>,
		<&lsio_gpio2 20 0>,
		<&lsio_gpio2 21 0>,
		<&lsio_gpio3 3 0>,
		<&lsio_gpio3 4 0>,
		<&lsio_gpio3 6 0>,
		<&lsio_gpio3 7 0>,
		<&lsio_gpio3 8 0>,
		<&lsio_gpio3 9 0>,
		<&lsio_gpio3 10 0>,
		<&lsio_gpio3 11 0>,
		<&lsio_gpio3 25 0>,
		<&lsio_gpio3 31 0>,
		<&lsio_gpio4 0 0>,
		<&lsio_gpio4 19 0>,	
		<&lsio_gpio4 20 0>,
		<&lsio_gpio4 21 0>,
		<&lsio_gpio4 22 0>,
		<&lsio_gpio4 23 0>,
		<&lsio_gpio4 24 0>,
		<&lsio_gpio4 25 0>,
		<&lsio_gpio4 26 0>,
		<&lsio_gpio5 1 0>,
		<&lsio_gpio5 2 0>;
};
